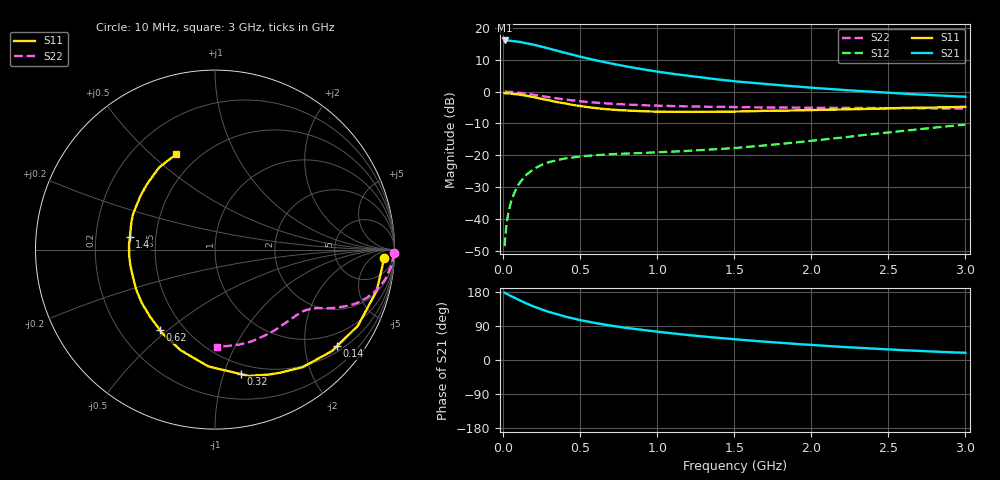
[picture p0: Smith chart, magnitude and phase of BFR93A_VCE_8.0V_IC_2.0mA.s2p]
! Infineon Technologies  Discrete & RF Semiconductors
! BFR93A
! VCE =  8.0 V,  IC =  2.0 mA
! Common Emitter S-Parameters:  Nov 2015
# GHz  S  MA  R  50
!  f  S11  S21  S12  S22
! GHz  MAG  ANG  MAG  ANG  MAG  ANG  MAG  ANG
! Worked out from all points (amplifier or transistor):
!   180 points, 10 MHz to 3 GHz, reference 50 ohm
!   highest |S21| = 16.1 dB at 10 MHz (marker M1)
!   |S21| within 3 dB of that: start of sweep to 333 MHz
!   unconditionally stable (mu >= 1): 998.2 MHz to 2.49 GHz
!   at 160 MHz: K = 0.20, MSG = 20.5 dB, |S12| = -25.8 dB
!   at 1.22 GHz: K = 1.12, MAG = 9.7 dB, |S12| = -18.6 dB
!   at 3 GHz: K = 0.89, MSG = 4.4 dB, |S12| = -10.4 dB
!   S11 on the Smith chart (normalised r, x): 10 MHz: 20, -16; 140 MHz: 0.64, -2.75; 320 MHz: 0.41, -1.14; 620 MHz: 0.37, -0.47; 1.4 GHz: 0.35, +0.06; 3 GHz: 0.38, +0.60
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0.01  0.9409 -2.8  6.352 177.6  0.0037 89.4  0.9961 -1.1
0.025  0.9343 -7.1  6.331 174.4  0.009 84.5  0.9935 -2.5
0.05  0.9296 -14.3  6.29 168.9  0.0178 81.6  0.9869 -5.2
0.1  0.902 -28.1  6.078 159.2  0.0344 74.3  0.9623 -10.1
0.14  0.8668 -38.3  5.818 151.4  0.0459 68.1  0.9328 -13.4
0.15  0.8625 -41.0  5.77 149.4  0.0488 67.0  0.926 -14.3
0.2  0.8167 -53.4  5.439 140.9  0.0606 61.5  0.8877 -17.6
0.24  0.7754 -62.3  5.148 134.7  0.0684 57.1  0.8559 -19.9
0.3  0.7286 -75.0  4.736 126.5  0.0778 52.4  0.8106 -22.6
0.32  0.708 -78.3  4.589 124.4  0.0799 51.1  0.7979 -23.2
0.4  0.6523 -93.2  4.071 114.7  0.0885 46.4  0.7481 -25.7
0.5  0.5927 -108.8  3.531 105.2  0.0954 42.6  0.7022 -27.7
0.52  0.5818 -111.3  3.441 103.8  0.0963 42.2  0.6952 -28.0
0.62  0.543 -124.4  3.032 96.1  0.1005 40.3  0.6625 -29.5
0.7  0.521 -133.7  2.758 90.5  0.1035 39.7  0.6429 -30.6
0.8  0.5045 -144.1  2.477 84.7  0.1056 39.8  0.6243 -32.0
1.02  0.481 -163.0  2.024 73.8  0.1111 41.7  0.5973 -35.4
1.4  0.4795 171.6  1.543 58.2  0.1245 48.7  0.5738 -42.6
1.52  0.4842 165.6  1.435 54.0  0.1304 51.2  0.5678 -45.4
2.02  0.5118 144.0  1.14 39.2  0.1698 59.4  0.5553 -57.9
2.52  0.5451 126.9  0.948 27.6  0.2302 61.7  0.5477 -72.5
3  0.5744 112.1  0.827 18.9  0.3026 59.3  0.5411 -88.8
